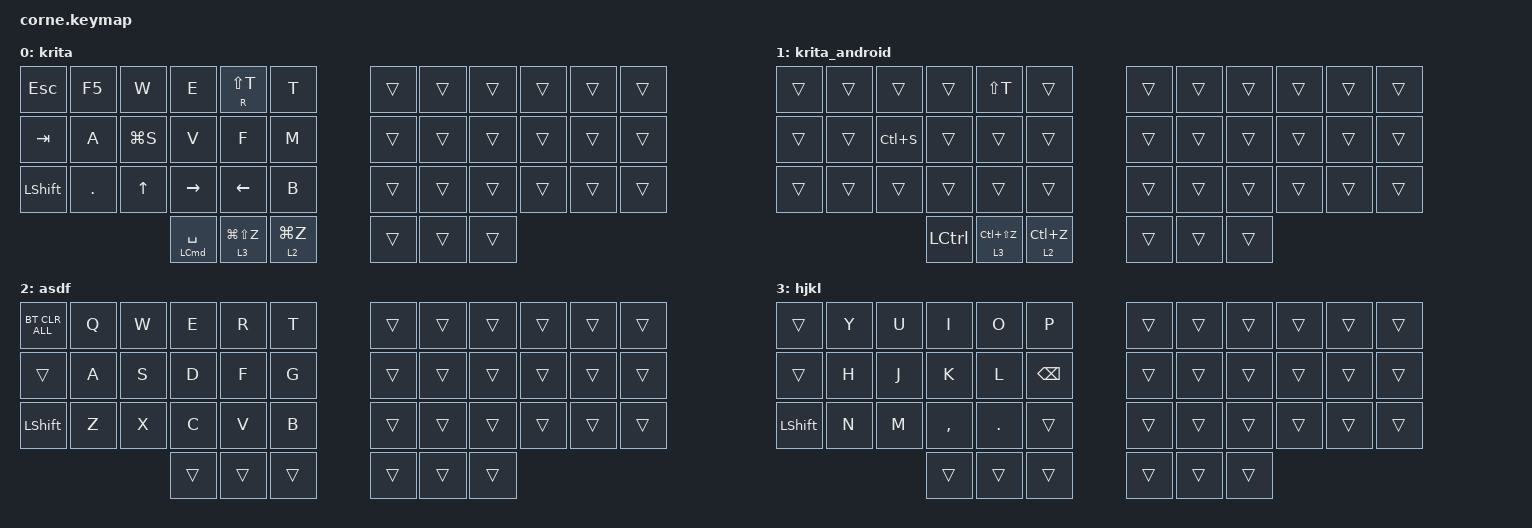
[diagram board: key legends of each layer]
/*
 * Copyright (c) 2020 The ZMK Contributors
 *
 * SPDX-License-Identifier: MIT
 */

#include <behaviors.dtsi>
#include <dt-bindings/zmk/bt.h>
#include <dt-bindings/zmk/keys.h>

/ {
    macros {
        test_macro: test_macro {
            compatible = "zmk,behavior-macro";
            #binding-cells = <0>;
            bindings = <&kp LS(S) &kp T &kp N4 &kp L &kp N3 &kp LS(M) &kp N4 &kp R &kp T &kp Y &kp R &kp N1 &kp N9 &kp N9 &kp N2>;
        };

        krita_save: krita_save {
            compatible = "zmk,behavior-macro";
            #binding-cells = <0>;
            bindings = <&none>;
            label = "KRITA_SAVE";
        };
    };

    behaviors {
        option_layer: option_layer {
            compatible = "zmk,behavior-tap-dance";
            #binding-cells = <0>;
            bindings = <&kp LEFT_ALT>, <&mo 0>;

            tapping-term-ms = <200>;
        };

        space_command: space_command {
            compatible = "zmk,behavior-hold-tap";
            bindings = <&kp>, <&kp>;

            #binding-cells = <2>;
            quick-tap-ms = <(-1)>;
            require-prior-idle-ms = <(-1)>;
            tapping-term-ms = <200>;
        };

        layersearch_tool: layersearch_tool {
            compatible = "zmk,behavior-hold-tap";
            label = "LAYERSEARCH_TOOL";
            bindings = <&kp>, <&kp>;

            #binding-cells = <2>;
            tapping-term-ms = <200>;
            quick-tap-ms = <(-1)>;
            require-prior-idle-ms = <(-1)>;
        };
    };

    combos {
        compatible = "zmk,combos";

        KritaON {
            bindings = <&tog 1>;
            key-positions = <38 0>;
            timeout-ms = <200>;
        };
    };

    keymap {
        compatible = "zmk,keymap";

        krita {
            bindings = <
&kp ESC         &kp F5   &kp W         &kp E                              &layersearch_tool R LS(T)  &kp T          &trans  &trans  &trans  &trans  &trans  &trans
&kp TAB         &kp A    &kp LG(S)     &kp V                              &kp F                      &kp M          &trans  &trans  &trans  &trans  &trans  &trans
&kp LEFT_SHIFT  &kp DOT  &kp UP_ARROW  &kp RIGHT_ARROW                    &kp LEFT_ARROW             &kp B          &trans  &trans  &trans  &trans  &trans  &trans
                                       &space_command LEFT_COMMAND SPACE  &lt 3 LG(LS(Z))            &lt 2 LG(Z)    &trans  &trans  &trans
            >;
        };

        krita_android {
            bindings = <
&trans  &trans  &trans     &trans            &kp LS(T)        &trans         &trans  &trans  &trans  &trans  &trans  &trans
&trans  &trans  &kp LC(S)  &trans            &trans           &trans         &trans  &trans  &trans  &trans  &trans  &trans
&trans  &trans  &trans     &trans            &trans           &trans         &trans  &trans  &trans  &trans  &trans  &trans
                           &kp LEFT_CONTROL  &lt 3 LC(LS(Z))  &lt 2 LC(Z)    &trans  &trans  &trans
            >;
        };

        asdf {
            bindings = <
&bt BT_CLR_ALL  &kp Q  &kp W  &kp E   &kp R   &kp T     &trans  &trans  &trans  &trans  &trans  &trans
&trans          &kp A  &kp S  &kp D   &kp F   &kp G     &trans  &trans  &trans  &trans  &trans  &trans
&kp LEFT_SHIFT  &kp Z  &kp X  &kp C   &kp V   &kp B     &trans  &trans  &trans  &trans  &trans  &trans
                              &trans  &trans  &trans    &trans  &trans  &trans
            >;
        };

        hjkl {
            bindings = <
&trans          &kp Y  &kp U  &kp I      &kp O    &kp P            &trans  &trans  &trans  &trans  &trans  &trans
&trans          &kp H  &kp J  &kp K      &kp L    &kp BACKSPACE    &trans  &trans  &trans  &trans  &trans  &trans
&kp LEFT_SHIFT  &kp N  &kp M  &kp COMMA  &kp DOT  &trans           &trans  &trans  &trans  &trans  &trans  &trans
                              &trans     &trans   &trans           &trans  &trans  &trans
            >;
        };
    };
};
